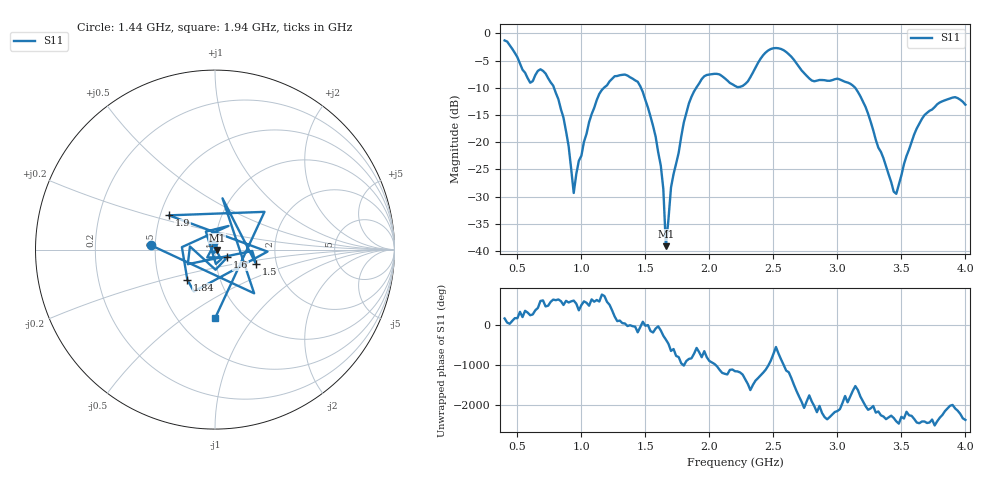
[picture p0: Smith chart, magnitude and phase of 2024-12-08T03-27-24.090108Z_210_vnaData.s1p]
!Created with skrf (http://scikit-rf.org).
# Hz S RI R 50.0
!freq ReS11 ImS11
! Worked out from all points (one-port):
!   181 points, 400 MHz to 4 GHz, reference 50 ohm
!   lowest |S11| = -39.1 dB at 1.66 GHz (marker M1), VSWR 1.02, Z = 51.1 - j0.14 ohm
!   |S11| at or under -10 dB: 785.7 MHz to 1.176 GHz (390.6 MHz wide, 39.8 % of centre); 1.465 GHz to 1.897 GHz (432 MHz wide, 25.7 % of centre); 3.139 GHz to end of sweep
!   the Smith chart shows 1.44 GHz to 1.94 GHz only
!   S11 on the Smith chart (normalised r, x): 1.44 GHz: 0.47, +0.03; 1.5 GHz: 1.57, -0.27; 1.6 GHz: 1.14, -0.10; 1.84 GHz: 0.70, -0.25; 1.9 GHz: 0.56, +0.24; 1.94 GHz: 0.75, -0.67
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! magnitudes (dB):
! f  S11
! 400 MHz  -1.3
! 600 MHz  -9.1
! 720 MHz  -7.4
! 860 MHz  -15.5
! 940 MHz  -29.3
! 980 MHz  -23.4
! 1.12 GHz  -12.2
! 1.3 GHz  -7.7
! 1.44 GHz  -8.9
! 1.5 GHz  -12.3
! 1.6 GHz  -21.9
! 1.64 GHz  -28.6
! 1.66 GHz  -39.1
! 1.7 GHz  -28.3
! 1.76 GHz  -21.9
! 1.84 GHz  -12.9
! 1.9 GHz  -9.9
! 1.94 GHz  -8.4
! 2.2 GHz  -9.7
! 2.48 GHz  -2.9
! 2.66 GHz  -4.8
! 2.8 GHz  -8.7
! 3.1 GHz  -9.2
! 3.22 GHz  -13.5
! 3.44 GHz  -29.1
! 3.56 GHz  -21.3
! 3.78 GHz  -13.0
! 4 GHz  -13.1
